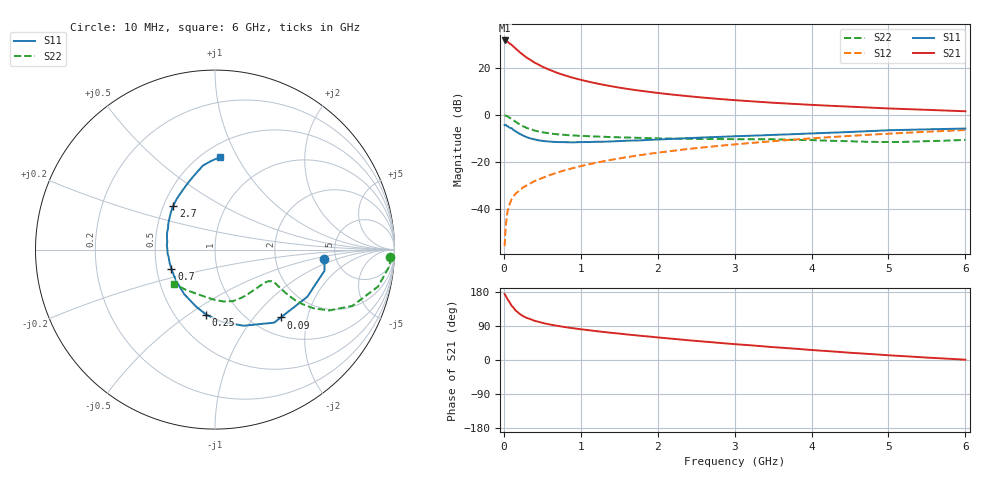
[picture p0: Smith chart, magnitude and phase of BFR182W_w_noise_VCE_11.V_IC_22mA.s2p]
! (c) 2017  Infineon Technologies AG, Munich
! Infineon Technologies  Discrete & RF Semiconductors
! BFR182W
! VCE =  11. V,  IC =  22 mA
! Common Emitter S-Parameters:  Jan 2017
# GHz  S  MA  R  50
!  f  S11  S21  S12  S22
! GHz  MAG  ANG  MAG  ANG  MAG  ANG  MAG  ANG
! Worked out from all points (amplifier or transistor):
!   77 points, 10 MHz to 6 GHz, reference 50 ohm
!   highest |S21| = 31.8 dB at 10 MHz (marker M1)
!   |S21| within 3 dB of that: start of sweep to 138.3 MHz
!   unconditionally stable (mu >= 1): 839.8 MHz to 2.388 GHz
!   at 130 MHz: K = 0.44, MSG = 31.8 dB, |S12| = -34.5 dB
!   at 2.2 GHz: K = 1.01, MAG = 11.3 dB, |S12| = -15.2 dB
!   at 6 GHz: K = 0.86, MSG = 4.0 dB, |S12| = -6.4 dB
!   lowest NFmin = 1.47 dB at 450 MHz
!   S11 on the Smith chart (normalised r, x): 10 MHz: 4.03, -0.70; 90 MHz: 1.33, -1.39; 250 MHz: 0.70, -0.59; 700 MHz: 0.60, -0.14; 2.7 GHz: 0.56, +0.31; 6 GHz: 0.61, +0.85
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0.01  0.6123 -5.1  38.9 174.4  0.0016 82.3  0.9785 -2.4
0.02  0.6216 -10.9  38.73 171.0  0.0032 77.6  0.9773 -5.3
0.05  0.5776 -27.1  36.38 159.7  0.0091 75.5  0.9314 -12.8
0.09  0.5267 -45.9  32.24 147.1  0.0145 71.6  0.846 -20.2
0.1  0.5237 -51.0  31.49 143.5  0.0158 71.0  0.8272 -22.3
0.15  0.4529 -69.5  26.49 131.5  0.0209 66.4  0.7223 -28.0
0.2  0.4034 -84.9  22.37 122.6  0.0244 65.4  0.6388 -30.8
0.25  0.3657 -97.7  19.18 115.7  0.0287 64.6  0.5764 -31.9
0.3  0.3355 -108.0  16.62 110.8  0.0317 64.8  0.528 -32.3
0.4  0.3021 -124.5  13.11 103.3  0.039 66.9  0.4664 -31.6
0.5  0.281 -137.7  10.74 98.0  0.0455 67.4  0.4288 -30.7
0.6  0.2708 -147.6  9.109 93.6  0.0527 68.4  0.4042 -29.9
0.7  0.2653 -156.0  7.88 90.0  0.0595 69.7  0.3875 -29.2
0.9  0.2615 -169.6  6.209 83.8  0.0739 70.3  0.3673 -29.1
1.1  0.2655 179.5  5.149 78.7  0.0888 70.6  0.3542 -29.8
1.5  0.2787 163.9  3.842 69.7  0.1189 70.0  0.3345 -33.4
2.1  0.3055 146.6  2.835 57.8  0.165 67.1  0.3161 -42.8
2.7  0.3372 133.5  2.272 47.0  0.2124 63.2  0.3077 -55.1
3.1  0.357 125.5  2.023 40.4  0.2445 60.2  0.3049 -63.1
4.1  0.4109 109.6  1.618 25.0  0.3265 52.0  0.2882 -83.5
5.1  0.4775 96.9  1.363 11.3  0.408 42.6  0.2666 -112.9
6  0.5153 87.1  1.204 0.8  0.4792 33.7  0.2958 -140.3
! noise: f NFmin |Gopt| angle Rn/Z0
0.45  1.47  0.13  -172  0.15
0.9  1.55  0.14  -167  0.15
1.9  2.06  0.29  -141  0.17
2.4  2.34  0.31  -127  0.27
